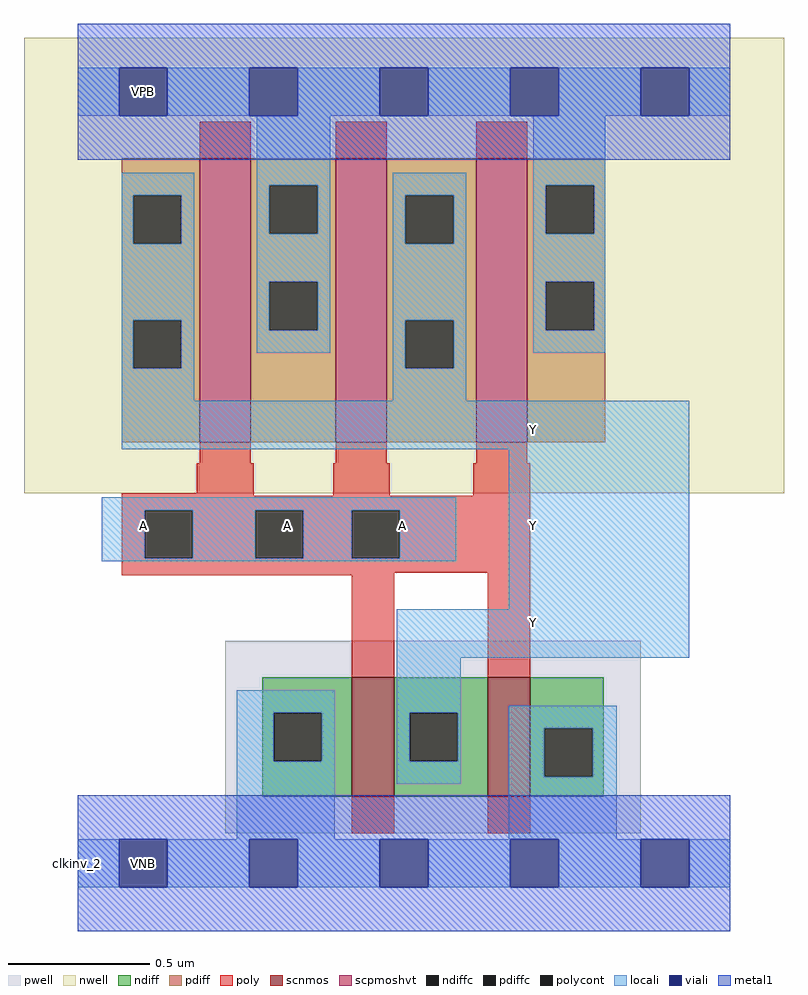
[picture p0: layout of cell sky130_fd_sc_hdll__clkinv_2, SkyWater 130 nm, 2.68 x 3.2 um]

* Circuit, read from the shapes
.subckt sky130_fd_sc_hdll__clkinv_2 A VGND VNB VPB VPWR Y
XM1 Y A VGND VNB sky130_fd_pr__nfet_01v8 w=0.42 l=0.15 m=2
XM2 VPWR A Y VPB sky130_fd_pr__pfet_01v8_hvt w=1 l=0.18 m=3
.ends

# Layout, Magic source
magic
tech sky130A
magscale 1 2
<< nwell >>
rect -38 261 498 582
<< pwell >>
rect 104 21 397 157
rect 29 -17 63 17
<< scnmos >>
rect 193 47 223 131
rect 289 47 319 131
<< scpmoshvt >>
rect 86 297 122 497
rect 182 297 218 497
rect 281 297 317 497
<< ndiff >>
rect 130 106 193 131
rect 130 72 138 106
rect 172 72 193 106
rect 130 47 193 72
rect 223 106 289 131
rect 223 72 234 106
rect 268 72 289 106
rect 223 47 289 72
rect 319 95 371 131
rect 319 61 329 95
rect 363 61 371 95
rect 319 47 371 61
<< pdiff >>
rect 31 471 86 497
rect 31 437 39 471
rect 73 437 86 471
rect 31 383 86 437
rect 31 349 39 383
rect 73 349 86 383
rect 31 297 86 349
rect 122 478 182 497
rect 122 444 135 478
rect 169 444 182 478
rect 122 410 182 444
rect 122 376 135 410
rect 169 376 182 410
rect 122 297 182 376
rect 218 471 281 497
rect 218 437 231 471
rect 265 437 281 471
rect 218 383 281 437
rect 218 349 231 383
rect 265 349 281 383
rect 218 297 281 349
rect 317 478 372 497
rect 317 444 330 478
rect 364 444 372 478
rect 317 410 372 444
rect 317 376 330 410
rect 364 376 372 410
rect 317 297 372 376
<< ndiffc >>
rect 138 72 172 106
rect 234 72 268 106
rect 329 61 363 95
<< pdiffc >>
rect 39 437 73 471
rect 39 349 73 383
rect 135 444 169 478
rect 135 376 169 410
rect 231 437 265 471
rect 231 349 265 383
rect 330 444 364 478
rect 330 376 364 410
<< poly >>
rect 86 497 122 523
rect 182 497 218 523
rect 281 497 317 523
rect 86 282 122 297
rect 182 282 218 297
rect 281 282 317 297
rect 84 261 124 282
rect 31 259 124 261
rect 180 259 220 282
rect 279 259 319 282
rect 31 249 319 259
rect 31 215 47 249
rect 81 215 125 249
rect 159 215 193 249
rect 227 215 319 249
rect 31 205 319 215
rect 31 203 223 205
rect 193 131 223 203
rect 289 131 319 205
rect 193 21 223 47
rect 289 21 319 47
<< polycont >>
rect 47 215 81 249
rect 125 215 159 249
rect 193 215 227 249
<< locali >>
rect 0 527 29 561
rect 63 527 121 561
rect 155 527 213 561
rect 247 527 305 561
rect 339 527 397 561
rect 431 527 460 561
rect 31 471 82 487
rect 31 437 39 471
rect 73 437 82 471
rect 31 383 82 437
rect 31 349 39 383
rect 73 349 82 383
rect 126 478 178 527
rect 126 444 135 478
rect 169 444 178 478
rect 126 410 178 444
rect 126 376 135 410
rect 169 376 178 410
rect 126 360 178 376
rect 222 471 274 487
rect 222 437 231 471
rect 265 437 274 471
rect 222 383 274 437
rect 31 326 82 349
rect 222 349 231 383
rect 265 349 274 383
rect 321 478 372 527
rect 321 444 330 478
rect 364 444 372 478
rect 321 410 372 444
rect 321 376 330 410
rect 364 376 372 410
rect 321 360 372 376
rect 222 326 274 349
rect 31 292 431 326
rect 17 249 267 258
rect 17 215 47 249
rect 81 215 125 249
rect 159 215 193 249
rect 227 215 267 249
rect 17 213 267 215
rect 304 179 431 292
rect 225 145 431 179
rect 112 106 181 122
rect 112 72 138 106
rect 172 72 181 106
rect 112 17 181 72
rect 225 106 270 145
rect 225 72 234 106
rect 268 72 270 106
rect 225 56 270 72
rect 304 95 380 111
rect 304 61 329 95
rect 363 61 380 95
rect 304 17 380 61
rect 0 -17 29 17
rect 63 -17 121 17
rect 155 -17 213 17
rect 247 -17 305 17
rect 339 -17 397 17
rect 431 -17 460 17
<< viali >>
rect 29 527 63 561
rect 121 527 155 561
rect 213 527 247 561
rect 305 527 339 561
rect 397 527 431 561
rect 29 -17 63 17
rect 121 -17 155 17
rect 213 -17 247 17
rect 305 -17 339 17
rect 397 -17 431 17
<< metal1 >>
rect 0 561 460 592
rect 0 527 29 561
rect 63 527 121 561
rect 155 527 213 561
rect 247 527 305 561
rect 339 527 397 561
rect 431 527 460 561
rect 0 496 460 527
rect 0 17 460 48
rect 0 -17 29 17
rect 63 -17 121 17
rect 155 -17 213 17
rect 247 -17 305 17
rect 339 -17 397 17
rect 431 -17 460 17
rect 0 -48 460 -17
<< labels >>
flabel locali s 304 153 338 187 0 FreeSans 400 0 0 0 Y
port 6 nsew signal output
flabel locali s 304 221 338 255 0 FreeSans 400 0 0 0 Y
port 6 nsew signal output
flabel locali s 304 289 338 323 0 FreeSans 400 0 0 0 Y
port 6 nsew signal output
flabel locali s 212 221 246 255 0 FreeSans 400 0 0 0 A
port 1 nsew signal input
flabel locali s 131 221 165 255 0 FreeSans 400 0 0 0 A
port 1 nsew signal input
flabel locali s 29 221 63 255 0 FreeSans 400 0 0 0 A
port 1 nsew signal input
flabel pwell s 29 -17 63 17 0 FreeSans 200 0 0 0 VNB
port 3 nsew ground bidirectional
flabel nwell s 29 527 63 561 0 FreeSans 200 0 0 0 VPB
port 4 nsew power bidirectional
flabel metal1 s 29 527 63 561 0 FreeSans 200 0 0 0 VPWR
port 5 nsew power bidirectional
flabel metal1 s 29 -17 63 17 0 FreeSans 200 0 0 0 VGND
port 2 nsew ground bidirectional
rlabel comment s 0 0 0 0 4 clkinv_2
<< properties >>
string LEFsite unithd
string LEFclass CORE
string FIXED_BBOX 0 0 460 544
string GDS_FILE $PDKPATH/libs.ref/sky130_fd_sc_hdll/gds/sky130_fd_sc_hdll.gds
string LEFsymmetry X Y R90
string GDS_END 2011164
string GDS_START 2006810
string LEFproperties maskLayoutSubType "abstract" prCellType "standard" originalViewName "layout"
<< end >>
